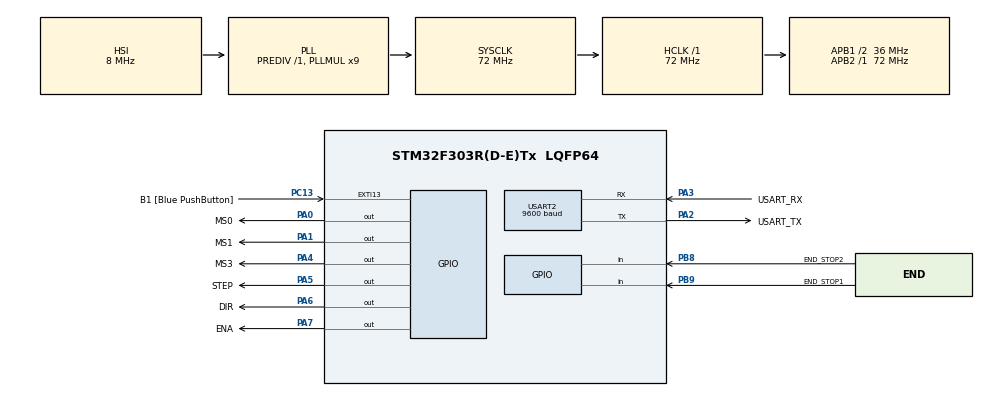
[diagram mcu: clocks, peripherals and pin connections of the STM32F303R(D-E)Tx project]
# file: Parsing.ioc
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Mcu.Family=STM32F3
Mcu.Name=STM32F303R(D-E)Tx
Mcu.Package=LQFP64
NVIC.PriorityGroup=NVIC_PRIORITYGROUP_0
NVIC.USART2_IRQn=true\:0\:0\:false\:false\:true\:true
PA0.GPIO_Label=MS0
PA0.Signal=GPIO_Output
PA1.GPIO_Label=MS1
PA1.Signal=GPIO_Output
PA13.GPIO_Label=TMS
PA13.Mode=Serial_Wire
PA13.Signal=SYS_JTMS-SWDIO
PA14.GPIO_Label=TCK
PA14.Mode=Serial_Wire
PA14.Signal=SYS_JTCK-SWCLK
PA2.GPIO_Label=USART_TX
PA2.GPIO_Mode=GPIO_MODE_AF_PP
PA2.GPIO_PuPd=GPIO_NOPULL
PA2.GPIO_Speed=GPIO_SPEED_FREQ_LOW
PA2.Mode=Asynchronous
PA2.Signal=USART2_TX
PA3.GPIO_Label=USART_RX
PA3.GPIO_Mode=GPIO_MODE_AF_PP
PA3.GPIO_PuPd=GPIO_NOPULL
PA3.GPIO_Speed=GPIO_SPEED_FREQ_LOW
PA3.Mode=Asynchronous
PA3.Signal=USART2_RX
PA4.GPIO_Label=MS3
PA4.Signal=GPIO_Output
PA5.GPIO_Label=STEP
PA5.GPIO_Mode=GPIO_MODE_OUTPUT_PP
PA5.GPIO_PuPd=GPIO_NOPULL
PA5.GPIO_Speed=GPIO_SPEED_FREQ_LOW
PA5.Signal=GPIO_Output
PA6.GPIO_Label=DIR
PA6.Signal=GPIO_Output
PA7.GPIO_Label=ENA
PA7.Signal=GPIO_Output
PB3.GPIO_Label=SWO
PB3.Signal=SYS_JTDO-TRACESWO
PB8.GPIO_Label=END_STOP2
PB8.Signal=GPIO_Input
PB9.GPIO_Label=END_STOP1
PB9.Signal=GPIO_Input
PC13.GPIO_Label=B1 [Blue PushButton]
PC13.GPIO_ModeDefaultEXTI=GPIO_MODE_IT_FALLING
PC13.Signal=GPXTI13
PC14-OSC32_IN.Mode=LSE-External-Oscillator
PC14-OSC32_IN.Signal=RCC_OSC32_IN
PC15-OSC32_OUT.Mode=LSE-External-Oscillator
PC15-OSC32_OUT.Signal=RCC_OSC32_OUT
PF0-OSC_IN.Mode=HSE-External-Clock-Source
PF0-OSC_IN.Signal=RCC_OSC_IN
PF1-OSC_OUT.Signal=RCC_OSC_OUT
ProjectManager.HeapSize=0x200
ProjectManager.StackSize=0x400
ProjectManager.TargetToolchain=SW4STM32
RCC.AHBFreq_Value=72000000
RCC.APB1CLKDivider=RCC_HCLK_DIV2
RCC.APB1Freq_Value=36000000
RCC.APB1TimFreq_Value=72000000
RCC.APB2Freq_Value=72000000
RCC.APB2TimFreq_Value=72000000
RCC.CortexFreq_Value=72000000
RCC.HCLKFreq_Value=72000000
RCC.HSE_VALUE=8000000
RCC.HSI_VALUE=8000000
RCC.PLLM=8
RCC.PLLMUL=RCC_PLL_MUL9
RCC.PLLN=336
RCC.PLLP=RCC_PLLP_DIV4
RCC.PLLQ=7
RCC.RCC_PLLsource_Clock_Source_FROM_HSE=RCC_HSE_PREDIV_DIV2
RCC.SYSCLKFreq_VALUE=72000000
RCC.SYSCLKSourceVirtual=RCC_SYSCLKSOURCE_PLLCLK
RCC.USBFreq_Value=72000000
USART2.BaudRate=9600
USART2.VirtualMode-Asynchronous=VM_ASYNC
USART2.WordLength=WORDLENGTH_8B
board=NUCLEO-F303RE

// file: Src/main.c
/**
  ******************************************************************************
  * @file           : main.c
  * @brief          : Main program body
  ******************************************************************************
  ** This notice applies to any and all portions of this file
  * that are not between comment pairs USER CODE BEGIN and
  * USER CODE END. Other portions of this file, whether
  * inserted by the user or by software development tools
  * are owned by their respective copyright owners.
  *
  * COPYRIGHT(c) 2018 STMicroelectronics
  *
  * Redistribution and use in source and binary forms, with or without modification,
  * are permitted provided that the following conditions are met:
  *   1. Redistributions of source code must retain the above copyright notice,
  *      this list of conditions and the following disclaimer.
  *   2. Redistributions in binary form must reproduce the above copyright notice,
  *      this list of conditions and the following disclaimer in the documentation
  *      and/or other materials provided with the distribution.
  *   3. Neither the name of STMicroelectronics nor the names of its contributors
  *      may be used to endorse or promote products derived from this software
  *      without specific prior written permission.
  *
  * THIS SOFTWARE IS PROVIDED BY THE COPYRIGHT HOLDERS AND CONTRIBUTORS "AS IS"
  * AND ANY EXPRESS OR IMPLIED WARRANTIES, INCLUDING, BUT NOT LIMITED TO, THE
  * IMPLIED WARRANTIES OF MERCHANTABILITY AND FITNESS FOR A PARTICULAR PURPOSE ARE
  * DISCLAIMED. IN NO EVENT SHALL THE COPYRIGHT HOLDER OR CONTRIBUTORS BE LIABLE
  * FOR ANY DIRECT, INDIRECT, INCIDENTAL, SPECIAL, EXEMPLARY, OR CONSEQUENTIAL
  * DAMAGES (INCLUDING, BUT NOT LIMITED TO, PROCUREMENT OF SUBSTITUTE GOODS OR
  * SERVICES; LOSS OF USE, DATA, OR PROFITS; OR BUSINESS INTERRUPTION) HOWEVER
  * CAUSED AND ON ANY THEORY OF LIABILITY, WHETHER IN CONTRACT, STRICT LIABILITY,
  * OR TORT (INCLUDING NEGLIGENCE OR OTHERWISE) ARISING IN ANY WAY OUT OF THE USE
  * OF THIS SOFTWARE, EVEN IF ADVISED OF THE POSSIBILITY OF SUCH DAMAGE.
  *
  ******************************************************************************
  */
#include "main.h"
#include "stm32f3xx_hal.h"

/* USER CODE BEGIN Includes */
#include <stdlib.h>
#include <stdbool.h>
__attribute__((__section__(".user_data"))) const uint8_t userConfig[64];
/* USER CODE END Includes */

UART_HandleTypeDef huart2;

/* USER CODE BEGIN PV */
/* Private variables ---------------------------------------------------------*/
uint8_t txBuffer[]="Buffer TEST\n\r";
uint8_t rxBuffer[12];
char  aBuffer[12];
bool rx_flag=false;
bool calibration_flag=false;
uint16_t nanometer;
uint16_t tenth_of_nanometer;
uint16_t hundredth_of_nanometer;
uint16_t thousandth_of_nanometer;
uint16_t MAX_WVL=999;
uint16_t MIN_WVL=100;
uint32_t current_position;
/* USER CODE END PV */

void SystemClock_Config(void);
static void MX_GPIO_Init(void);
static void MX_USART2_UART_Init(void);

/* USER CODE BEGIN PFP */
/* Private function prototypes -----------------------------------------------*/
char *ltoa(long N, char *str, int base);
void step(void);
bool buffer_analyze(bool flag,char buffer[10]);
/* USER CODE END PFP */

int main(void)
{

  /* MCU Configuration----------------------------------------------------------*/

  /* Reset of all peripherals, Initializes the Flash interface and the Systick. */
  HAL_Init();

  /* Configure the system clock */
  SystemClock_Config();

  /* Initialize all configured peripherals */
  MX_GPIO_Init();
  MX_USART2_UART_Init();

  /* Infinite loop */
  while (1)
  {
  /* USER CODE BEGIN 3 */
	  HAL_UART_Transmit_IT(&huart2,(uint8_t *)txBuffer,sizeof(txBuffer));
	  HAL_UART_Receive_IT(&huart2,rxBuffer,12);
	  HAL_Delay(1000);
	  rx_flag=buffer_analyze(rx_flag,aBuffer);

  }
  /* USER CODE END 3 */

}

void SystemClock_Config(void)
{

  RCC_OscInitTypeDef RCC_OscInitStruct;
  RCC_ClkInitTypeDef RCC_ClkInitStruct;
  RCC_PeriphCLKInitTypeDef PeriphClkInit;

    /**Initializes the CPU, AHB and APB busses clocks
    */
  RCC_OscInitStruct.OscillatorType = RCC_OSCILLATORTYPE_HSI;
  RCC_OscInitStruct.HSIState = RCC_HSI_ON;
  RCC_OscInitStruct.HSICalibrationValue = 16;
  RCC_OscInitStruct.PLL.PLLState = RCC_PLL_ON;
  RCC_OscInitStruct.PLL.PLLSource = RCC_PLLSOURCE_HSI;
  RCC_OscInitStruct.PLL.PLLMUL = RCC_PLL_MUL9;
  RCC_OscInitStruct.PLL.PREDIV = RCC_PREDIV_DIV1;
  if (HAL_RCC_OscConfig(&RCC_OscInitStruct) != HAL_OK)
  {
    _Error_Handler(__FILE__, __LINE__);
  }

    /**Initializes the CPU, AHB and APB busses clocks
    */
  RCC_ClkInitStruct.ClockType = RCC_CLOCKTYPE_HCLK|RCC_CLOCKTYPE_SYSCLK
                              |RCC_CLOCKTYPE_PCLK1|RCC_CLOCKTYPE_PCLK2;
  RCC_ClkInitStruct.SYSCLKSource = RCC_SYSCLKSOURCE_PLLCLK;
  RCC_ClkInitStruct.AHBCLKDivider = RCC_SYSCLK_DIV1;
  RCC_ClkInitStruct.APB1CLKDivider = RCC_HCLK_DIV2;
  RCC_ClkInitStruct.APB2CLKDivider = RCC_HCLK_DIV1;

  if (HAL_RCC_ClockConfig(&RCC_ClkInitStruct, FLASH_LATENCY_2) != HAL_OK)
  {
    _Error_Handler(__FILE__, __LINE__);
  }

  PeriphClkInit.PeriphClockSelection = RCC_PERIPHCLK_USART2;
  PeriphClkInit.Usart2ClockSelection = RCC_USART2CLKSOURCE_PCLK1;
  if (HAL_RCCEx_PeriphCLKConfig(&PeriphClkInit) != HAL_OK)
  {
    _Error_Handler(__FILE__, __LINE__);
  }

    /**Configure the Systick interrupt time
    */
  HAL_SYSTICK_Config(HAL_RCC_GetHCLKFreq()/1000);

    /**Configure the Systick
    */
  HAL_SYSTICK_CLKSourceConfig(SYSTICK_CLKSOURCE_HCLK);

  /* SysTick_IRQn interrupt configuration */
  HAL_NVIC_SetPriority(SysTick_IRQn, 0, 0);
}

/* USART2 init function */
static void MX_USART2_UART_Init(void)
{

  huart2.Instance = USART2;
  huart2.Init.BaudRate = 9600;
  huart2.Init.WordLength = UART_WORDLENGTH_8B;
  huart2.Init.StopBits = UART_STOPBITS_1;
  huart2.Init.Parity = UART_PARITY_NONE;
  huart2.Init.Mode = UART_MODE_TX_RX;
  huart2.Init.HwFlowCtl = UART_HWCONTROL_NONE;
  huart2.Init.OverSampling = UART_OVERSAMPLING_16;
  huart2.Init.OneBitSampling = UART_ONE_BIT_SAMPLE_DISABLE;
  huart2.AdvancedInit.AdvFeatureInit = UART_ADVFEATURE_NO_INIT;
  if (HAL_UART_Init(&huart2) != HAL_OK)
  {
    _Error_Handler(__FILE__, __LINE__);
  }

}

/** Configure pins as
        * Analog
        * Input
        * Output
        * EVENT_OUT
        * EXTI
*/
static void MX_GPIO_Init(void)
{

  GPIO_InitTypeDef GPIO_InitStruct;

  /* GPIO Ports Clock Enable */
  __HAL_RCC_GPIOC_CLK_ENABLE();
  __HAL_RCC_GPIOF_CLK_ENABLE();
  __HAL_RCC_GPIOA_CLK_ENABLE();
  __HAL_RCC_GPIOB_CLK_ENABLE();

  /*Configure GPIO pin Output Level */
  HAL_GPIO_WritePin(GPIOA, MS0_Pin|MS1_Pin|MS3_Pin|STEP_Pin
                          |DIR_Pin|ENA_Pin, GPIO_PIN_RESET);

  /*Configure GPIO pin : B1_Pin */
  GPIO_InitStruct.Pin = B1_Pin;
  GPIO_InitStruct.Mode = GPIO_MODE_IT_FALLING;
  GPIO_InitStruct.Pull = GPIO_NOPULL;
  HAL_GPIO_Init(B1_GPIO_Port, &GPIO_InitStruct);

  /*Configure GPIO pins : MS0_Pin MS1_Pin MS3_Pin STEP_Pin
                           DIR_Pin ENA_Pin */
  GPIO_InitStruct.Pin = MS0_Pin|MS1_Pin|MS3_Pin|STEP_Pin
                          |DIR_Pin|ENA_Pin;
  GPIO_InitStruct.Mode = GPIO_MODE_OUTPUT_PP;
  GPIO_InitStruct.Pull = GPIO_NOPULL;
  GPIO_InitStruct.Speed = GPIO_SPEED_FREQ_LOW;
  HAL_GPIO_Init(GPIOA, &GPIO_InitStruct);

  /*Configure GPIO pins : END_STOP2_Pin END_STOP1_Pin */
  GPIO_InitStruct.Pin = END_STOP2_Pin|END_STOP1_Pin;
  GPIO_InitStruct.Mode = GPIO_MODE_INPUT;
  GPIO_InitStruct.Pull = GPIO_NOPULL;
  HAL_GPIO_Init(GPIOB, &GPIO_InitStruct);

}

/* USER CODE BEGIN 4 */
void step(void){
	uint32_t i;
	HAL_GPIO_TogglePin(STEP_GPIO_Port,STEP_Pin);
	for (i=0; i<260; i++);

}

//
void GoToMinWVL(){
	uint32_t i;
	HAL_GPIO_WritePin(DIR_GPIO_Port,DIR_Pin,GPIO_PIN_SET);
	HAL_GPIO_WritePin(ENA_GPIO_Port,ENA_Pin,GPIO_PIN_RESET);
	while(HAL_GPIO_ReadPin(END_STOP1_GPIO_Port,END_STOP1_Pin)==1){
		step();
			}
}
//-----------------------------
uint32_t GoToMaxWVLandCount(void){
	uint32_t STEP_COUNT;
	uint32_t i;
	HAL_GPIO_WritePin(DIR_GPIO_Port,DIR_Pin,GPIO_PIN_RESET);
	HAL_GPIO_WritePin(ENA_GPIO_Port,ENA_Pin,GPIO_PIN_RESET);
	while(HAL_GPIO_ReadPin(END_STOP2_GPIO_Port,END_STOP2_Pin)==1){
		step();
		STEP_COUNT++;
		}
	return STEP_COUNT;
}
//--------------------------------
uint32_t GoToMinWVLandCount(void){
	uint32_t STEP_COUNT;
	uint32_t i;
	HAL_GPIO_WritePin(DIR_GPIO_Port,DIR_Pin,GPIO_PIN_SET);
	HAL_GPIO_WritePin(ENA_GPIO_Port,ENA_Pin,GPIO_PIN_RESET);
	while(HAL_GPIO_ReadPin(END_STOP1_GPIO_Port,END_STOP1_Pin)==1){
		step();
		STEP_COUNT++;
		}
	return STEP_COUNT;
}
//---------------------------------------------
void calculate(uint32_t number_of_steps){
char sbuffer[6];
nanometer=number_of_steps/(MIN_WVL-MAX_WVL);
tenth_of_nanometer=nanometer/10;
hundredth_of_nanometer=tenth_of_nanometer/10;
thousandth_of_nanometer=hundredth_of_nanometer/10;
sprintf(sbuffer,"%d",nanometer);
HAL_UART_Transmit(&huart2,sbuffer, sizeof(sbuffer),1000);
}
//-------------------------------------------
void autocalibration(){
	uint32_t i; uint32_t number_of_steps;
	if(HAL_GPIO_ReadPin(END_STOP1_GPIO_Port,END_STOP1_Pin)==1  && HAL_GPIO_ReadPin(END_STOP2_GPIO_Port,END_STOP2_Pin)==1){
		GoToMinWVL();
		number_of_steps=GoToMaxWVLandCount();
	  calculate(number_of_steps);
		current_position=MAX_WVL*1000;
	}
	else if (HAL_GPIO_ReadPin(END_STOP1_GPIO_Port,END_STOP1_Pin)==1  && HAL_GPIO_ReadPin(END_STOP2_GPIO_Port,END_STOP2_Pin)==0)
	{
		number_of_steps=GoToMinWVLandCount();
		calculate(number_of_steps);
		current_position=MIN_WVL*1000;
	}
	else if (HAL_GPIO_ReadPin(END_STOP1_GPIO_Port,END_STOP1_Pin)==0  && HAL_GPIO_ReadPin(END_STOP2_GPIO_Port,END_STOP2_Pin)==1)
	{
		number_of_steps=GoToMaxWVLandCount();
	  calculate(number_of_steps);
		current_position=MAX_WVL*1000;
	}
	else if (HAL_GPIO_ReadPin(END_STOP1_GPIO_Port,END_STOP1_Pin)==0  && HAL_GPIO_ReadPin(END_STOP2_GPIO_Port,END_STOP2_Pin)==0)
	{
		HAL_UART_Transmit(&huart2,"\r\nError: END STOP FAILURE\r\n",sizeof("\r\nError: END STOP FAILURE\r\n"),100);
	}

}
//-----------------------------------

//-----------------------------------
void steps(uint32_t no_of_steps, bool dir){
	HAL_GPIO_WritePin(ENA_GPIO_Port,ENA_Pin,GPIO_PIN_RESET);
	if(dir==true){
		HAL_GPIO_WritePin(DIR_GPIO_Port,DIR_Pin,GPIO_PIN_RESET);
		while(no_of_steps!=0)
		{
			step();
			no_of_steps--;
		}
	}
	else if(dir==false){
		HAL_GPIO_WritePin(DIR_GPIO_Port,DIR_Pin,GPIO_PIN_SET);
		while(no_of_steps!=0)
		{
			step();
			no_of_steps--;
		}
	}
	HAL_GPIO_WritePin(ENA_GPIO_Port,ENA_Pin,GPIO_PIN_SET);

}
//-------------------------------------------
void go_to_wavelength(uint32_t go_to_position)
	{
	int32_t position_diference;
	position_diference=go_to_position-current_position;
	if(position_diference > 0)
	{
		steps(position_diference*thousandth_of_nanometer,true);
		current_position=go_to_position;
	}
	else if(position_diference < 0)
	{
		steps((current_position-go_to_position)*thousandth_of_nanometer,false);
		current_position=go_to_position;
	}
	else if(position_diference==0);
}
//----------------------GO_UP--------------------------
void go_up(uint32_t position_modifier){
	steps(position_modifier*thousandth_of_nanometer,true);
}

//---------------------Go_DOWN-------------------------
void go_down(uint32_t position_modifier){
	steps(position_modifier*thousandth_of_nanometer,true);
}

//-------------------GET Position----------------------
void get_current_position(void){
	sprintf(txBuffer,"%d",current_position);
	HAL_UART_Transmit(&huart2,(uint8_t *)txBuffer,sizeof(txBuffer),1000);
}
//------------------Buffer analyze---------------------
bool buffer_analyze(bool flag,char buffer[12]){
	uint8_t i;
	char  cmd[5];
	char  nm_1[3];
	char end_of_packet[4];
	char c='x';
	char sbuffer[6];
	if(flag==true)
	{
		if(strcmp(buffer[0],'x')==0)
		{
			for(i=1;i<=5;i++)
			{
				cmd[i-1]=buffer[i];
			}
			for(i=0;i<=5;i++)
			{
				end_of_packet[i]=buffer[i+6];
			}
			HAL_UART_Transmit(&huart2,(uint8_t *)cmd,sizeof(cmd),100);
			if(strncmp(cmd,"aucal",5)==0){autocalibration();}
			else if(strncmp(cmd,"getpo",5)==0){get_current_position();}
			else if(strncmp(cmd,"go_up",5)==0){go_up(atol(end_of_packet));}
			else if(strncmp(cmd,"go_dw",5)==0){go_down(atol(end_of_packet));}
			else if(strncmp(cmd,"go_to",5)==0)//go_to_wavelength(atol(end_of_packet));
			{
				go_to_wavelength(atol(end_of_packet));
				sprintf(sbuffer,"%d",atol(nm_1));
				HAL_UART_Transmit(&huart2,sbuffer, sizeof(sbuffer),1000);
				HAL_UART_Transmit(&huart2,nm_1, sizeof(nm_1),1000);
			}
			else{
				sprintf(txBuffer,"\r\nCommand not recognized\r\n");
				HAL_UART_Transmit_IT(&huart2,(uint8_t *)txBuffer,sizeof(txBuffer));
			}
		}
		else HAL_UART_Transmit_IT(&huart2,"\r\nError: Transmision error\r\n",28);
	return false;
	}
}

/**
  * @brief Rx Transfer completed callbacks
  * @param huart: uart handle
  * @retval None
  */
void HAL_UART_RxCpltCallback(UART_HandleTypeDef *huart)
{
  /* Prevent unused argument(s) compilation warning */
  UNUSED(huart);
	memcpy(aBuffer,rxBuffer,sizeof(rxBuffer));
	rx_flag=true;
    HAL_UART_Transmit(&huart2, (uint8_t *)rxBuffer, sizeof(rxBuffer),0xFFFF);
}
/* USER CODE END 4 */

void _Error_Handler(char *file, int line)
{
  while(1)
  {
  }
}

/************************ (C) COPYRIGHT STMicroelectronics *****END OF FILE****/
